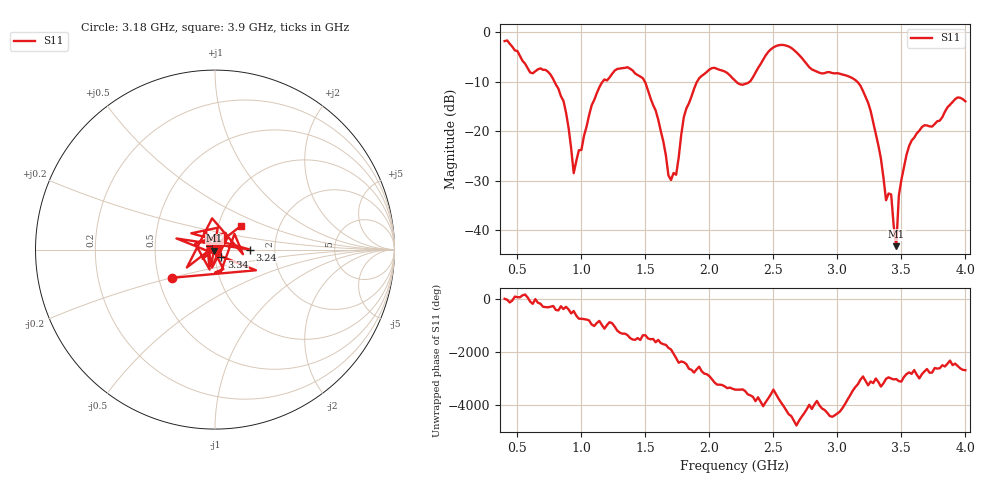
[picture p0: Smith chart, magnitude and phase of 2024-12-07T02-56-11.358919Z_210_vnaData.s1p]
!Created with skrf (http://scikit-rf.org).
# Hz S RI R 50.0
!freq ReS11 ImS11
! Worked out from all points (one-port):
!   181 points, 400 MHz to 4 GHz, reference 50 ohm
!   lowest |S11| = -43.2 dB at 3.46 GHz (marker M1), VSWR 1.01, Z = 49.6 - j0.561 ohm
!   |S11| at or under -10 dB: 790.1 MHz to 1.165 GHz (374.8 MHz wide, 38.3 % of centre); 1.496 GHz to 1.903 GHz (406.7 MHz wide, 23.9 % of centre); 3.156 GHz to end of sweep (the widest 3 of 4)
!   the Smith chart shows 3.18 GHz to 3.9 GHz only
!   S11 on the Smith chart (normalised r, x): 3.18 GHz: 0.58, -0.20; 3.24 GHz: 1.48, +0.00; 3.34 GHz: 1.07, -0.08; 3.9 GHz: 1.29, +0.36
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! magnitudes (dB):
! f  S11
! 400 MHz  -1.8
! 600 MHz  -8.1
! 740 MHz  -8.0
! 860 MHz  -13.9
! 940 MHz  -28.5
! 1.14 GHz  -11.1
! 1.3 GHz  -7.3
! 1.5 GHz  -10.2
! 1.6 GHz  -17.6
! 1.7 GHz  -29.8
! 1.76 GHz  -25.3
! 1.8 GHz  -17.1
! 1.92 GHz  -9.3
! 2.2 GHz  -9.8
! 2.32 GHz  -9.9
! 2.52 GHz  -2.8
! 2.66 GHz  -3.6
! 3.1 GHz  -9.0
! 3.18 GHz  -10.8
! 3.24 GHz  -14.2
! 3.34 GHz  -25.5
! 3.38 GHz  -33.9
! 3.42 GHz  -32.8
! 3.46 GHz  -43.2
! 3.48 GHz  -33.0
! 3.56 GHz  -23.0
! 3.9 GHz  -14.1
! 4 GHz  -13.9
